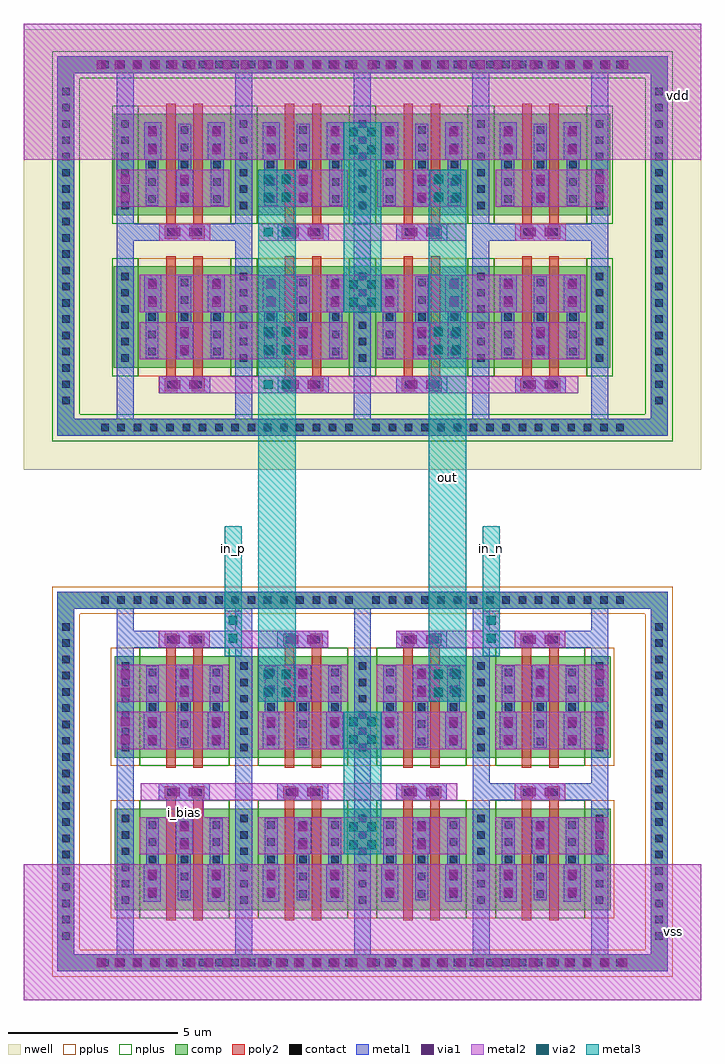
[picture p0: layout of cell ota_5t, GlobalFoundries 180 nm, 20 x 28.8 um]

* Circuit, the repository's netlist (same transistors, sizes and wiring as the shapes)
* NGSPICE file created from ota_5t.ext - technology: gf180mcuD

.subckt nfet$1 a_30_660# a_254_0# a_n84_0# a_94_0# a_190_660# VSUBS
X0 a_254_0# a_190_660# a_94_0# VSUBS nfet_03v3 ad=1.83p pd=7.22u as=0.78p ps=3.52u w=3u l=0.28u
X1 a_94_0# a_30_660# a_n84_0# VSUBS nfet_03v3 ad=0.78p pd=3.52u as=1.83p ps=7.22u w=3u l=0.28u
.ends

.subckt unit_nmos nfet$1_0/a_30_660# m2_n266_330# m1_n400_n100# m1_300_n100# a_163_0#
+ nfet$1_0/VSUBS
Xnfet$1_0 nfet$1_0/a_30_660# nfet$1_0/VSUBS nfet$1_0/VSUBS m2_n266_330# nfet$1_0/a_30_660#
+ nfet$1_0/VSUBS nfet$1
.ends

.subckt pfet a_254_0# w_n180_n88# a_188_660# a_28_660# a_n92_0# a_94_0#
X0 a_254_0# a_188_660# a_94_0# w_n180_n88# pfet_03v3 ad=1.95p pd=7.3u as=0.78p ps=3.52u w=3u l=0.28u
X1 a_94_0# a_28_660# a_n92_0# w_n180_n88# pfet_03v3 ad=0.78p pd=3.52u as=1.95p ps=7.3u w=3u l=0.28u
.ends

.subckt unit_pmos m1_311_n100# m2_n264_50# pfet_0/a_28_660# m2_n264_330# m1_n389_n100#
Xpfet_0 m2_n264_50# m2_n264_50# pfet_0/a_28_660# pfet_0/a_28_660# m2_n264_50# m2_n264_330#
+ pfet
.ends

.subckt ota_5t vdd vss i_bias in_n in_p out
Xunit_nmos_0[0|0] i_bias i_bias vss vss vss vss unit_nmos
Xunit_nmos_0[1|0] vss vss vss vss vss vss unit_nmos
Xunit_nmos_0[0|1] i_bias vss vss vss vss vss unit_nmos
Xunit_nmos_0[1|1] in_p m3_n614_1230# vss vss vss vss unit_nmos
Xunit_nmos_0[0|2] i_bias vss vss vss vss vss unit_nmos
Xunit_nmos_0[1|2] in_n out vss vss vss vss unit_nmos
Xunit_nmos_0[0|3] vss vss vss vss unit_nmos_0[0|3]/a_163_0# vss unit_nmos
Xunit_nmos_0[1|3] vss vss vss vss unit_nmos_0[1|3]/a_163_0# vss unit_nmos
Xunit_pmos_0[0|0] vdd vdd vdd vdd vdd unit_pmos
Xunit_pmos_0[1|0] vdd vdd m3_n614_1230# out vdd unit_pmos
Xunit_pmos_0[0|1] vdd vdd m3_n614_1230# out vdd unit_pmos
Xunit_pmos_0[1|1] vdd vdd m3_n614_1230# out vdd unit_pmos
Xunit_pmos_0[0|2] vdd vdd m3_n614_1230# m3_n614_1230# vdd unit_pmos
Xunit_pmos_0[1|2] vdd vdd m3_n614_1230# m3_n614_1230# vdd unit_pmos
Xunit_pmos_0[0|3] vdd vdd vdd vdd vdd unit_pmos
Xunit_pmos_0[1|3] vdd vdd m3_n614_1230# m3_n614_1230# vdd unit_pmos
.ends

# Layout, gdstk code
from math import pi, radians
import gdstk
lib = gdstk.Library(unit=1e-6, precision=1e-09)
def R(c, l, rs):  # rectangles x0, y0, x1, y1
    for r in rs: c.add(gdstk.rectangle(r[:2], r[2:], *l))
def A(c, l, x, y, w, h, nx, ny, dx, dy):  # array of equal rectangles
    R(c, l, [(x+i*dx, y+j*dy, x+i*dx+w, y+j*dy+h) for i in range(nx) for j in range(ny)])
nwell = (21, 0)
comp = (22, 0)
poly2 = (30, 0)
pplus = (31, 0)
nplus = (32, 0)
contact = (33, 0)
metal1 = (34, 0)
via1 = (35, 0)
metal2 = (36, 0)
via2 = (38, 0)
metal3 = (42, 0)

via_dev_5 = lib.new_cell('via_dev$5')
R(via_dev_5, metal2, [(0,0,1.1,1.1)])
R(via_dev_5, via2, [(0.155,0.155,0.415,0.415), (0.685,0.155,0.945,0.415), (0.155,0.685,0.415,0.945), (0.685,0.685,0.945,0.945)])
R(via_dev_5, metal3, [(0,0,1.1,1.1)])

via_dev_4 = lib.new_cell('via_dev$4')
R(via_dev_4, metal2, [(0,0,1.1,0.5)])
R(via_dev_4, via2, [(0.155,0.12,0.415,0.38), (0.685,0.12,0.945,0.38)])
R(via_dev_4, metal3, [(0,0,1.1,0.5)])

via_dev = lib.new_cell('via_dev')
R(via_dev, comp, [(0,0,3,0.4)])
A(via_dev, contact, 0.19, 0.09, 0.22, 0.22, 6, 1, 0.48, 0)
R(via_dev, metal1, [(0,0,3,0.4)])

via_dev_15 = lib.new_cell('via_dev$15')
R(via_dev_15, metal1, [(0,0,0.5,1.1)])
R(via_dev_15, via1, [(0.12,0.155,0.38,0.415), (0.12,0.685,0.38,0.945)])
R(via_dev_15, metal2, [(0,0,0.5,1.1)])

via_dev_16 = lib.new_cell('via_dev$16')
R(via_dev_16, metal1, [(0,0,1.5,0.5)])
R(via_dev_16, via1, [(0.355,0.12,0.615,0.38), (0.885,0.12,1.145,0.38)])
R(via_dev_16, metal2, [(0,0,1.5,0.5)])

pfet = lib.new_cell('pfet')
R(pfet, nwell, [(-0.9,-0.44,2.36,3.44)])
R(pfet, comp, [(-0.46,0,0,3), (0,0,1.46,3), (1.46,0,1.92,3)])
R(pfet, poly2, [(0.19,-0.3,0.47,3.3), (0.99,-0.3,1.27,3.3), (0.14,3.3,0.52,3.68), (0.94,3.3,1.32,3.68)])
R(pfet, pplus, [(-0.63,-0.24,2.09,3.24)])
A(pfet, contact, -0.34, 0.37, 0.22, 0.22, 3, 5, 0.96, 0.51)
R(pfet, contact, [(0.22,3.38,0.44,3.6), (1.02,3.38,1.24,3.6)])
A(pfet, metal1, -0.42, 0.29, 0.38, 2.42, 3, 1, 0.96, 0)
R(pfet, metal1, [(0.14,3.299,0.52,3.681), (0.94,3.299,1.32,3.681)])

unit_pmos = lib.new_cell('unit_pmos')
R(unit_pmos, nwell, [(-2.475,-0.75,2.525,3.75)])
R(unit_pmos, comp, [(-2.055,0,2.085,3)])
R(unit_pmos, nplus, [(-2.14,-0.24,-1.36,3.24), (1.36,-0.24,2.14,3.24)])
unit_pmos.add(gdstk.FlexPath([(-1.745,-0.5),(-1.745,4)], 0.4, ends="flush", simple_path=True, layer=34, datatype=0))  # metal1
unit_pmos.add(gdstk.FlexPath([(1.755,-0.5),(1.755,4)], 0.4, ends="flush", simple_path=True, layer=34, datatype=0))  # metal1
unit_pmos.add(gdstk.FlexPath([(-1.32,0.8),(1.32,0.8)], 1.1, ends="flush", simple_path=True, layer=36, datatype=0))  # metal2
unit_pmos.add(gdstk.FlexPath([(-1.32,2.2),(1.32,2.2)], 1.1, ends="flush", simple_path=True, layer=36, datatype=0))  # metal2
unit_pmos.add(gdstk.Reference(via_dev, (-1.545,0), rotation=pi/2))
unit_pmos.add(gdstk.Reference(via_dev, (1.955,0), rotation=pi/2))
unit_pmos.add(gdstk.Reference(via_dev_15, (-1.19,0.25)))
unit_pmos.add(gdstk.Reference(via_dev_15, (-0.25,1.65)))
unit_pmos.add(gdstk.Reference(via_dev_15, (0.695,0.25)))
unit_pmos.add(gdstk.Reference(via_dev_16, (-0.75,3.24)))
unit_pmos.add(gdstk.Reference(pfet, (-0.73,0)))

via_dev_7 = lib.new_cell('via_dev$7')
R(via_dev_7, comp, [(0,0,8,0.5)])
A(via_dev_7, contact, 0.29, 0.14, 0.22, 0.22, 16, 1, 0.48, 0)
R(via_dev_7, metal1, [(0,0,8,0.5)])

via_dev_6 = lib.new_cell('via_dev$6')
R(via_dev_6, comp, [(0,0,10,0.5)])
A(via_dev_6, contact, 0.33, 0.14, 0.22, 0.22, 20, 1, 0.48, 0)
R(via_dev_6, metal1, [(0,0,10,0.5)])

guardring = lib.new_cell('guardring')
guardring.add(gdstk.FlexPath([(8,10.95),(8.75,10.95),(8.75,10.6)], 0.5, ends="flush", simple_path=True, layer=34, datatype=0))  # metal1
guardring.add(gdstk.FlexPath([(8,0.25),(8.75,0.25),(8.75,0.6)], 0.5, ends="flush", simple_path=True, layer=34, datatype=0))  # metal1
guardring.add(gdstk.FlexPath([(-8,10.95),(-8.75,10.95),(-8.75,10.6)], 0.5, ends="flush", simple_path=True, layer=34, datatype=0))  # metal1
guardring.add(gdstk.FlexPath([(-8,0.25),(-8.75,0.25),(-8.75,0.6)], 0.5, ends="flush", simple_path=True, layer=34, datatype=0))  # metal1
guardring.add(gdstk.FlexPath([(8,10.95),(8.75,10.95),(8.75,10.6)], 0.5, ends="flush", simple_path=True, layer=22, datatype=0))  # comp
guardring.add(gdstk.FlexPath([(8,0.25),(8.75,0.25),(8.75,0.6)], 0.5, ends="flush", simple_path=True, layer=22, datatype=0))  # comp
guardring.add(gdstk.FlexPath([(-8,10.95),(-8.75,10.95),(-8.75,10.6)], 0.5, ends="flush", simple_path=True, layer=22, datatype=0))  # comp
guardring.add(gdstk.FlexPath([(-8,0.25),(-8.75,0.25),(-8.75,0.6)], 0.5, ends="flush", simple_path=True, layer=22, datatype=0))  # comp
guardring.add(gdstk.Reference(via_dev_7, (0,0)))
guardring.add(gdstk.Reference(via_dev_7, (0,0), rotation=pi, x_reflection=True))
guardring.add(gdstk.Reference(via_dev_7, (0,10.7)))
guardring.add(gdstk.Reference(via_dev_7, (0,10.7), rotation=pi, x_reflection=True))
guardring.add(gdstk.Reference(via_dev_6, (9,0.6), rotation=pi/2))
guardring.add(gdstk.Reference(via_dev_6, (-9,0.6), rotation=pi/2, x_reflection=True))

via_dev_11 = lib.new_cell('via_dev$11')
R(via_dev_11, comp, [(0,0,3,0.4)])
A(via_dev_11, contact, 0.19, 0.09, 0.22, 0.22, 6, 1, 0.48, 0)
R(via_dev_11, metal1, [(0,0,3,0.4)])

via_dev_12 = lib.new_cell('via_dev$12')
R(via_dev_12, metal1, [(0,0,0.5,1.1)])
R(via_dev_12, via1, [(0.12,0.155,0.38,0.415), (0.12,0.685,0.38,0.945)])
R(via_dev_12, metal2, [(0,0,0.5,1.1)])

via_dev_14 = lib.new_cell('via_dev$14')
R(via_dev_14, metal1, [(0,0,1.5,0.5)])
R(via_dev_14, via1, [(0.355,0.12,0.615,0.38), (0.885,0.12,1.145,0.38)])
R(via_dev_14, metal2, [(0,0,1.5,0.5)])

nfet_1 = lib.new_cell('nfet$1')
R(nfet_1, comp, [(-0.42,0,0,3), (0,0,1.46,3), (1.46,0,1.88,3)])
R(nfet_1, poly2, [(0.19,-0.3,0.47,3.3), (0.99,-0.3,1.27,3.3), (0.15,3.3,0.51,3.66), (0.95,3.3,1.31,3.66)])
R(nfet_1, nplus, [(-0.59,-0.24,2.05,3.24)])
A(nfet_1, contact, -0.32, 0.37, 0.22, 0.22, 3, 5, 0.94, 0.51)
R(nfet_1, contact, [(0.22,3.37,0.44,3.59), (1.02,3.37,1.24,3.59)])
A(nfet_1, metal1, -0.4, 0.29, 0.38, 2.42, 3, 1, 0.94, 0)
R(nfet_1, metal1, [(0.14,3.289,0.52,3.671), (0.94,3.289,1.32,3.671)])

unit_nmos = lib.new_cell('unit_nmos')
R(unit_nmos, comp, [(-2.065,0,2.075,3)])
R(unit_nmos, pplus, [(-2.185,-0.24,-1.325,3.24), (1.315,-0.24,2.175,3.24)])
unit_nmos.add(gdstk.FlexPath([(1.75,-0.5),(1.75,4)], 0.5, ends="flush", simple_path=True, layer=34, datatype=0))  # metal1
unit_nmos.add(gdstk.FlexPath([(-1.75,-0.5),(-1.75,4)], 0.5, ends="flush", simple_path=True, layer=34, datatype=0))  # metal1
unit_nmos.add(gdstk.FlexPath([(-1.33,0.8),(1.31,0.8)], 1.1, ends="flush", simple_path=True, layer=36, datatype=0))  # metal2
unit_nmos.add(gdstk.FlexPath([(-1.33,2.2),(1.31,2.2)], 1.1, ends="flush", simple_path=True, layer=36, datatype=0))  # metal2
unit_nmos.add(gdstk.Reference(via_dev_11, (-1.95,0), rotation=pi/2, x_reflection=True))
unit_nmos.add(gdstk.Reference(via_dev_11, (1.95,0), rotation=pi/2))
unit_nmos.add(gdstk.Reference(via_dev_12, (-1.2,0.25)))
unit_nmos.add(gdstk.Reference(via_dev_12, (-0.26,1.65)))
unit_nmos.add(gdstk.Reference(via_dev_12, (0.685,0.25)))
unit_nmos.add(gdstk.Reference(via_dev_14, (-0.76,3.24)))
unit_nmos.add(gdstk.Reference(nfet_1, (-0.735,0)))

via_dev_8 = lib.new_cell('via_dev$8')

via_dev_10 = lib.new_cell('via_dev$10')
R(via_dev_10, metal1, [(0,0,1.1,0.5)])
R(via_dev_10, via1, [(0.155,0.12,0.415,0.38), (0.685,0.12,0.945,0.38)])
R(via_dev_10, metal2, [(0,0,1.1,0.5)])

via_dev_13 = lib.new_cell('via_dev$13')
R(via_dev_13, metal1, [(0,0,8,0.5)])
A(via_dev_13, via1, 0.16, 0.12, 0.26, 0.26, 15, 1, 0.53, 0)
R(via_dev_13, metal2, [(0,0,8,0.5)])

ota_5t = lib.new_cell('ota_5t')
R(ota_5t, nwell, [(-10,13,10,26)])
ota_5t.add(gdstk.FlexPath([(7,9.4),(7,-1.8)], 0.5, ends="flush", simple_path=True, layer=34, datatype=0))  # metal1
ota_5t.add(gdstk.FlexPath([(3.5,9.4),(3.5,-1.8)], 0.5, ends="flush", simple_path=True, layer=34, datatype=0))  # metal1
ota_5t.add(gdstk.FlexPath([(0,9.4),(0,-1.8)], 0.5, ends="flush", simple_path=True, layer=34, datatype=0))  # metal1
ota_5t.add(gdstk.FlexPath([(-3.5,9.4),(-3.5,-1.8)], 0.5, ends="flush", simple_path=True, layer=34, datatype=0))  # metal1
ota_5t.add(gdstk.FlexPath([(-7,9.4),(-7,-1.8)], 0.5, ends="flush", simple_path=True, layer=34, datatype=0))  # metal1
ota_5t.add(gdstk.FlexPath([(-7,25.2),(-7,14)], 0.5, ends="flush", simple_path=True, layer=34, datatype=0))  # metal1
ota_5t.add(gdstk.FlexPath([(-3.505,25.2),(-3.505,14)], 0.5, ends="flush", simple_path=True, layer=34, datatype=0))  # metal1
ota_5t.add(gdstk.FlexPath([(-0.005,25.2),(-0.005,14)], 0.5, ends="flush", simple_path=True, layer=34, datatype=0))  # metal1
ota_5t.add(gdstk.FlexPath([(3.495,25.2),(3.495,14)], 0.5, ends="flush", simple_path=True, layer=34, datatype=0))  # metal1
ota_5t.add(gdstk.FlexPath([(6.995,25.2),(6.995,14)], 0.5, ends="flush", simple_path=True, layer=34, datatype=0))  # metal1
ota_5t.add(gdstk.FlexPath([(-3.5,7.99),(-7,7.99)], 0.5, ends="flush", simple_path=True, layer=34, datatype=0))  # metal1
ota_5t.add(gdstk.FlexPath([(6.995,7.99),(3.495,7.99)], 0.5, ends="flush", simple_path=True, layer=34, datatype=0))  # metal1
ota_5t.add(gdstk.FlexPath([(6.995,3.49),(3.495,3.49)], 0.5, ends="flush", simple_path=True, layer=34, datatype=0))  # metal1
ota_5t.add(gdstk.FlexPath([(6.995,20.01),(3.495,20.01)], 0.5, ends="flush", simple_path=True, layer=34, datatype=0))  # metal1
ota_5t.add(gdstk.FlexPath([(-3.505,20.01),(-7.005,20.01)], 0.5, ends="flush", simple_path=True, layer=34, datatype=0))  # metal1
ota_5t.add(gdstk.FlexPath([(0,9.15),(8.75,9.15),(8.75,-1.56),(0,-1.56),(0,-1.56)], 0.8, ends="flush", simple_path=True, layer=31, datatype=0))  # pplus
ota_5t.add(gdstk.FlexPath([(0,9.15),(-8.75,9.15),(-8.75,-1.56),(0,-1.56),(0,-1.56)], 0.8, ends="flush", simple_path=True, layer=31, datatype=0))  # pplus
ota_5t.add(gdstk.FlexPath([(-2.825,5.3),(2.295,5.3)], 1.1, ends="flush", simple_path=True, layer=36, datatype=0))  # metal2
ota_5t.add(gdstk.FlexPath([(-4.275,0.8),(4.69,0.8)], 1.1, ends="flush", simple_path=True, layer=36, datatype=0))  # metal2
ota_5t.add(gdstk.FlexPath([(-1.775,2.2),(1.74,2.2)], 1.1, ends="flush", simple_path=True, layer=36, datatype=0))  # metal2
ota_5t.add(gdstk.FlexPath([(-4.455,22.7),(5.095,22.7)], 1.1, ends="flush", simple_path=True, layer=36, datatype=0))  # metal2
ota_5t.add(gdstk.FlexPath([(-5.205,18.2),(5.5,18.2)], 1.1, ends="flush", simple_path=True, layer=36, datatype=0))  # metal2
ota_5t.add(gdstk.FlexPath([(-6.54,3.49),(2.8,3.49)], 0.5, ends="flush", simple_path=True, layer=36, datatype=0))  # metal2
ota_5t.add(gdstk.FlexPath([(-5.45,16.8),(-1.59,16.8)], 1.1, ends="flush", simple_path=True, layer=36, datatype=0))  # metal2
ota_5t.add(gdstk.FlexPath([(1.59,16.8),(5.45,16.8)], 1.1, ends="flush", simple_path=True, layer=36, datatype=0))  # metal2
ota_5t.add(gdstk.FlexPath([(-3.045,20.01),(3.065,20.01)], 0.5, ends="flush", simple_path=True, layer=36, datatype=0))  # metal2
ota_5t.add(gdstk.FlexPath([(-6.01,15.51),(6.36,15.51)], 0.5, ends="flush", simple_path=True, layer=36, datatype=0))  # metal2
ota_5t.add(gdstk.FlexPath([(0.99,7.99),(4.05,7.99)], 0.5, ends="flush", simple_path=True, layer=36, datatype=0))  # metal2
ota_5t.add(gdstk.FlexPath([(-1.01,7.99),(-4.07,7.99)], 0.5, ends="flush", simple_path=True, layer=36, datatype=0))  # metal2
ota_5t.add(gdstk.FlexPath([(-10,24.15),(10,24.15)], 4, ends="flush", simple_path=True, layer=36, datatype=0))  # metal2
ota_5t.add(gdstk.FlexPath([(-10,-0.65),(10,-0.65)], 4, ends="flush", simple_path=True, layer=36, datatype=0))  # metal2
ota_5t.add(gdstk.FlexPath([(5.73,2.2),(7.25,2.2)], 1.1, ends="flush", simple_path=True, layer=36, datatype=0))  # metal2
ota_5t.add(gdstk.FlexPath([(5.73,5.3),(7.25,5.3)], 1.1, ends="flush", simple_path=True, layer=36, datatype=0))  # metal2
ota_5t.add(gdstk.FlexPath([(5.73,6.7),(7.25,6.7)], 1.1, ends="flush", simple_path=True, layer=36, datatype=0))  # metal2
ota_5t.add(gdstk.FlexPath([(5.73,6.7),(7.25,6.7)], 1.1, ends="flush", simple_path=True, layer=36, datatype=0))  # metal2
ota_5t.add(gdstk.FlexPath([(5.73,5.3),(7.25,5.3)], 1.1, ends="flush", simple_path=True, layer=36, datatype=0))  # metal2
ota_5t.add(gdstk.FlexPath([(5.73,2.2),(7.25,2.2)], 1.1, ends="flush", simple_path=True, layer=36, datatype=0))  # metal2
ota_5t.add(gdstk.FlexPath([(-5.235,3.49),(-5.235,2.2)], 1.1, ends="flush", simple_path=True, layer=36, datatype=0))  # metal2
ota_5t.add(gdstk.FlexPath([(-5.73,5.3),(-7.25,5.3)], 1.1, ends="flush", simple_path=True, layer=36, datatype=0))  # metal2
ota_5t.add(gdstk.FlexPath([(-5.73,6.7),(-7.25,6.7)], 1.1, ends="flush", simple_path=True, layer=36, datatype=0))  # metal2
ota_5t.add(gdstk.FlexPath([(-5.73,6.7),(-7.25,6.7)], 1.1, ends="flush", simple_path=True, layer=36, datatype=0))  # metal2
ota_5t.add(gdstk.FlexPath([(-5.73,5.3),(-7.25,5.3)], 1.1, ends="flush", simple_path=True, layer=36, datatype=0))  # metal2
ota_5t.add(gdstk.FlexPath([(-5.73,21.3),(-7.25,21.3)], 1.1, ends="flush", simple_path=True, layer=36, datatype=0))  # metal2
ota_5t.add(gdstk.FlexPath([(-5.73,21.3),(-7.25,21.3)], 1.1, ends="flush", simple_path=True, layer=36, datatype=0))  # metal2
ota_5t.add(gdstk.FlexPath([(5.73,21.3),(7.25,21.3)], 1.1, ends="flush", simple_path=True, layer=36, datatype=0))  # metal2
ota_5t.add(gdstk.FlexPath([(5.73,21.3),(7.25,21.3)], 1.1, ends="flush", simple_path=True, layer=36, datatype=0))  # metal2
ota_5t.add(gdstk.FlexPath([(0,24.945),(8.75,24.945),(8.75,14.235),(0,14.235),(0,14.235)], 0.8, ends="flush", simple_path=True, layer=32, datatype=0))  # nplus
ota_5t.add(gdstk.FlexPath([(0,24.945),(-8.75,24.945),(-8.75,14.235),(0,14.235),(0,14.235)], 0.8, ends="flush", simple_path=True, layer=32, datatype=0))  # nplus
ota_5t.add(gdstk.FlexPath([(0,5.85),(0,1.65)], 1.1, ends="flush", simple_path=True, layer=42, datatype=0))  # metal3
ota_5t.add(gdstk.FlexPath([(0,23.25),(0,17.65)], 1.1, ends="flush", simple_path=True, layer=42, datatype=0))  # metal3
ota_5t.add(gdstk.FlexPath([(-2.52,21.85),(-2.52,6.15)], 1.1, ends="flush", simple_path=True, layer=42, datatype=0))  # metal3
ota_5t.add(gdstk.FlexPath([(2.51,21.85),(2.51,6.15)], 1.1, ends="flush", simple_path=True, layer=42, datatype=0))  # metal3
ota_5t.add(gdstk.FlexPath([(3.8,11.335),(3.8,7.495)], 0.5, ends="flush", simple_path=True, layer=42, datatype=0))  # metal3
ota_5t.add(gdstk.FlexPath([(-3.82,11.335),(-3.82,7.495)], 0.5, ends="flush", simple_path=True, layer=42, datatype=0))  # metal3
ota_5t.add(gdstk.Reference(via_dev_5, (-3.07,20.75)))
ota_5t.add(gdstk.Reference(via_dev_5, (-3.07,6.15)))
ota_5t.add(gdstk.Reference(via_dev_5, (-0.55,1.65)))
ota_5t.add(gdstk.Reference(via_dev_4, (-3.07,15.26)))
ota_5t.add(gdstk.Reference(via_dev_4, (-3.07,19.76)))
ota_5t.add(gdstk.Reference(via_dev_5, (-0.55,4.75)))
r = gdstk.Reference(unit_pmos, (5.25,23.5), rotation=pi); r.repetition = gdstk.Repetition(4, 2, v1=(-3.5,0), v2=(0,-4.5)); ota_5t.add(r)
ota_5t.add(gdstk.Reference(via_dev_5, (-3.07,16.25)))
ota_5t.add(gdstk.Reference(via_dev_5, (-0.55,17.65)))
ota_5t.add(gdstk.Reference(via_dev_5, (-0.55,22.15)))
ota_5t.add(gdstk.Reference(guardring, (0,14)))
ota_5t.add(gdstk.Reference(guardring, (0,-1.8)))
ota_5t.add(gdstk.Reference(via_dev_5, (1.965,20.75)))
ota_5t.add(gdstk.Reference(via_dev_5, (1.96,6.15)))
ota_5t.add(gdstk.Reference(via_dev_5, (1.96,16.25)))
r = gdstk.Reference(unit_nmos, (-5.25,0)); r.repetition = gdstk.Repetition(4, 2, v1=(3.5,0), v2=(0,4.5)); ota_5t.add(r)
ota_5t.add(gdstk.Reference(via_dev_4, (4.05,7.74), rotation=pi/2))
ota_5t.add(gdstk.Reference(via_dev_4, (-4.07,7.74), rotation=pi/2, x_reflection=True))
ota_5t.add(gdstk.Reference(via_dev_8, (0,24.755), rotation=pi, x_reflection=True))
ota_5t.add(gdstk.Reference(via_dev_10, (7.25,1.65), rotation=pi/2))
ota_5t.add(gdstk.Reference(via_dev_10, (7.25,4.75), rotation=pi/2))
ota_5t.add(gdstk.Reference(via_dev_10, (7.25,6.15), rotation=pi/2))
ota_5t.add(gdstk.Reference(via_dev_10, (7.25,6.15), rotation=pi/2))
ota_5t.add(gdstk.Reference(via_dev_10, (7.25,4.75), rotation=pi/2))
ota_5t.add(gdstk.Reference(via_dev_10, (7.25,1.65), rotation=pi/2))
ota_5t.add(gdstk.Reference(via_dev_10, (-7.25,4.75), rotation=pi/2, x_reflection=True))
ota_5t.add(gdstk.Reference(via_dev_10, (-7.25,4.75), rotation=pi/2, x_reflection=True))
ota_5t.add(gdstk.Reference(via_dev_10, (-7.25,6.15), rotation=pi/2, x_reflection=True))
ota_5t.add(gdstk.Reference(via_dev_10, (-7.25,6.15), rotation=pi/2, x_reflection=True))
ota_5t.add(gdstk.Reference(via_dev_10, (-7.25,20.75), rotation=pi/2, x_reflection=True))
ota_5t.add(gdstk.Reference(via_dev_10, (-7.25,20.75), rotation=pi/2, x_reflection=True))
ota_5t.add(gdstk.Reference(via_dev_10, (7.25,20.75), rotation=pi/2))
ota_5t.add(gdstk.Reference(via_dev_10, (7.25,20.75), rotation=pi/2))
ota_5t.add(gdstk.Reference(via_dev_13, (-0.025,-1.8)))
ota_5t.add(gdstk.Reference(via_dev_13, (0,-1.8), rotation=pi, x_reflection=True))
ota_5t.add(gdstk.Reference(via_dev_13, (0,24.7)))
ota_5t.add(gdstk.Reference(via_dev_13, (0,24.7), rotation=pi, x_reflection=True))
ota_5t.add(gdstk.Label('vdd', (9.335,24.05), layer=36, texttype=10))
ota_5t.add(gdstk.Label('vss', (9.18,-0.635), layer=36, texttype=10))
ota_5t.add(gdstk.Label('i_bias', (-5.24,2.875), layer=36, texttype=10))
ota_5t.add(gdstk.Label('in_n', (3.8,10.68), layer=42, texttype=10))
ota_5t.add(gdstk.Label('in_p', (-3.815,10.68), layer=42, texttype=10))
ota_5t.add(gdstk.Label('out', (2.515,12.77), layer=42, texttype=10))

lib.write_gds('ota_5t.gds')
